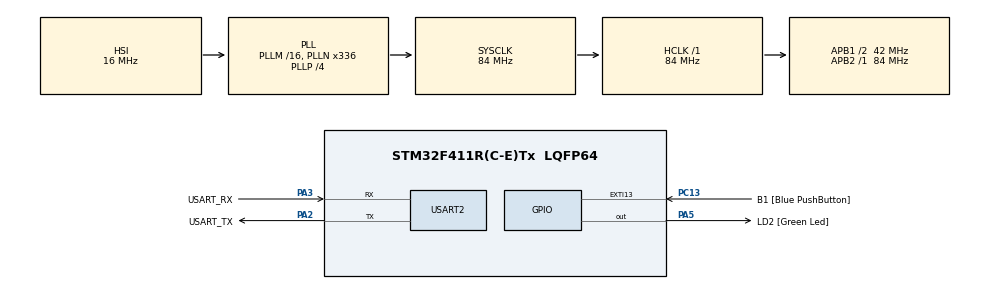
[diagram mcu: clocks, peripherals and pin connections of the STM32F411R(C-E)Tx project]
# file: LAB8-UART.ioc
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Mcu.Family=STM32F4
Mcu.Name=STM32F411R(C-E)Tx
Mcu.Package=LQFP64
NVIC.PriorityGroup=NVIC_PRIORITYGROUP_0
NVIC.USART2_IRQn=true\:0\:0\:false\:false\:true\:true\:true
PA13.GPIO_Label=TMS
PA13.Mode=Serial_Wire
PA13.Signal=SYS_JTMS-SWDIO
PA14.GPIO_Label=TCK
PA14.Mode=Serial_Wire
PA14.Signal=SYS_JTCK-SWCLK
PA2.GPIO_Label=USART_TX
PA2.Mode=Asynchronous
PA2.Signal=USART2_TX
PA3.GPIO_Label=USART_RX
PA3.Mode=Asynchronous
PA3.Signal=USART2_RX
PA5.GPIO_Label=LD2 [Green Led]
PA5.Signal=GPIO_Output
PB3.GPIO_Label=SWO
PB3.Signal=SYS_JTDO-SWO
PC13-ANTI_TAMP.GPIO_Label=B1 [Blue PushButton]
PC13-ANTI_TAMP.GPIO_ModeDefaultEXTI=GPIO_MODE_IT_FALLING
PC13-ANTI_TAMP.Signal=GPXTI13
PC14-OSC32_IN.Mode=LSE-External-Oscillator
PC14-OSC32_IN.Signal=RCC_OSC32_IN
PC15-OSC32_OUT.Mode=LSE-External-Oscillator
PC15-OSC32_OUT.Signal=RCC_OSC32_OUT
PH0\ -\ OSC_IN.Mode=HSE-External-Clock-Source
PH0\ -\ OSC_IN.Signal=RCC_OSC_IN
PH1\ -\ OSC_OUT.Mode=HSE-External-Clock-Source
PH1\ -\ OSC_OUT.Signal=RCC_OSC_OUT
ProjectManager.HeapSize=0x200
ProjectManager.StackSize=0x400
ProjectManager.TargetToolchain=STM32CubeIDE
RCC.48MHZClocksFreq_Value=84000000
RCC.AHBFreq_Value=84000000
RCC.APB1CLKDivider=RCC_HCLK_DIV2
RCC.APB1Freq_Value=42000000
RCC.APB1TimFreq_Value=84000000
RCC.APB2Freq_Value=84000000
RCC.APB2TimFreq_Value=84000000
RCC.CortexFreq_Value=84000000
RCC.FLatency-AdvancedSettings=FLASH_LATENCY_2
RCC.HCLKFreq_Value=84000000
RCC.HSE_VALUE=8000000
RCC.HSI_VALUE=16000000
RCC.PLLN=336
RCC.PLLP=RCC_PLLP_DIV4
RCC.SYSCLKFreq_VALUE=84000000
RCC.SYSCLKSource=RCC_SYSCLKSOURCE_PLLCLK
RCC.VCOOutputFreq_Value=336000000
USART2.VirtualMode=VM_ASYNC
board=NUCLEO-F411RE

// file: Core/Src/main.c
/* USER CODE BEGIN Header */
/**
  ******************************************************************************
  * @file           : main.c
  * @brief          : Main program body
  ******************************************************************************
  * @attention
  *
  * <h2><center>&copy; Copyright (c) 2021 STMicroelectronics.
  * All rights reserved.</center></h2>
  *
  * This software component is licensed by ST under BSD 3-Clause license,
  * the "License"; You may not use this file except in compliance with the
  * License. You may obtain a copy of the License at:
  *                        opensource.org/licenses/BSD-3-Clause
  *
  ******************************************************************************
  */
/* USER CODE END Header */
#include "main.h"

/* USER CODE BEGIN Includes */
#include <stdio.h>	//sprintf --print บนตัวแปร
#include <string.h>	//strlen --วัความยาว str
/* USER CODE END Includes */

UART_HandleTypeDef huart2; // ใช้ได้เลยโดยไม่ต้องสั่ง start stop

/* USER CODE BEGIN PV */

typedef enum
{
	state_start0 = 1 ,
	state_start1,
	state_LEDControl0,
	state_LEDControl1,
	state_ButtonStatus0,
	state_Buttonstatus1
} state;//0 = Print, 1 = Select

uint32_t TimeStamp = 0;
uint32_t frequency = 10;
uint8_t LED = 1;
uint8_t Button[2];

char TxDataBuffer[32] = {0}; //Global -- every time
char RxDataBuffer[32] = {0};

/* USER CODE END PV */

void SystemClock_Config(void);
static void MX_GPIO_Init(void);
static void MX_USART2_UART_Init(void);
/* USER CODE BEGIN PFP */
void UARTRecieveAndResponsePolling();
int16_t UARTRecieveIT();
/* USER CODE END PFP */

int main(void)
{

  /* MCU Configuration--------------------------------------------------------*/

  /* Reset of all peripherals, Initializes the Flash interface and the Systick. */
  HAL_Init();

  /* Configure the system clock */
  SystemClock_Config();

  /* Initialize all configured peripherals */
  MX_GPIO_Init();
  MX_USART2_UART_Init();
  /* USER CODE BEGIN 2 */
  {
	  char temp[] = "HELP ME PLZ\r\n";
	  HAL_UART_Transmit(&huart2, (uint8_t*)temp, strlen(temp), 100); // ส่ง str -- ถ้าประโยคยาวกว่า 10 ms ประโยคอาจจะไม่ขึ้น สามารถใส่มากๆไว้ก่อนก็ได้ หรือจะทำ interrupt ก็ได้
  }
  /* USER CODE END 2 */

  /* Infinite loop */
  /* USER CODE BEGIN WHILE */
  while (1)
  {
	  /*Method 1 Polling Mode*/ //--ครบตาม timeout
//	  UARTRecieveAndResponsePolling(); //Call Function For Recieve Data

	  /*Method 2 Interrupt Mode*/ //--ครบตามจำนวนตัวอักษร
	  HAL_UART_Receive_IT(&huart2, (uint8_t*)RxDataBuffer, 32);
	  	  	  //ฟังก์ชันนี้สามารถใส่นอกลูปได้ แต่เมื่อใส่ข้อมูลครบ 32 ตัว จะจบฟังก์ชันนี้ด้วย
	  	  	  //เมื่อเข้าสู่การเตรียมรับแล้ว โปรแกรมจะข้างฟังก์ชันนี้ไปเอง จึงสามารถใส่ฟังก์ชันนี้ในลูปได้

	  if (LED == 1) //on
	  {
		  if(HAL_GetTick() - TimeStamp >= 100000) //กระพริบ LED
		  {
			  TimeStamp = HAL_GetTick();
			  HAL_GPIO_TogglePin(LD2_GPIO_Port, LD2_Pin);
		  }
	  }

	  else
	  {
		  HAL_GPIO_WritePin(LD2_GPIO_Port, LD2_Pin, 0);
	  }

	  Button[1] = Button[0];
	  Button[0] = HAL_GPIO_ReadPin(B1_GPIO_Port, B1_Pin);
	  int16_t inputchar = UARTRecieveIT();

	  static state STATE = 1;

	  switch(STATE)
	  {
	  case state_start0:
		  sprintf(TxDataBuffer, " Main Menu\n\r 0: LED Control \n\r 1: Button status\n\r");
		  HAL_UART_Transmit(&huart2, (uint8_t*)TxDataBuffer, strlen(TxDataBuffer), 100);
		  STATE = state_start1;
		  break;

	  case state_start1:
		  switch (inputchar)
		  {
		  case '0':
			  STATE = state_LEDControl0;
			  break;
		  case '1':
			  STATE = state_ButtonStatus0;
			  break;
		  case -1:
			  break;
		  default:
				  sprintf(TxDataBuffer, "Sorry, Key is wrong\n\r");
				  HAL_UART_Transmit(&huart2, (uint8_t*)TxDataBuffer, strlen(TxDataBuffer), 100);
				  STATE = state_start0;
				  break;
		  }
		  break;
/*------------------------------------------------------------------------------------------------------------------*/
	  case state_LEDControl0:
		  sprintf(TxDataBuffer,"a: Speed Up +1Hz\n\r s: Speed Down -1Hz\n\r d: On/Off\n\r x: back\n\r");
		  HAL_UART_Transmit(&huart2, (uint8_t*)TxDataBuffer, strlen(TxDataBuffer), 1000);
		  STATE = state_LEDControl1;
		  break;

	  case state_LEDControl1:
		  switch(inputchar)
		  {
		  case 'a':
			  frequency += 1;
			  sprintf(TxDataBuffer, " [%d]\r\n" , frequency);
			  HAL_UART_Transmit(&huart2, (uint8_t*)TxDataBuffer, strlen(TxDataBuffer), 100);
			  break;

		  case's':
			  if(frequency != 0)
			  {
				  frequency -= 1;
				  sprintf(TxDataBuffer, " [%d]\r\n" , frequency);
				  HAL_UART_Transmit(&huart2, (uint8_t*)TxDataBuffer, strlen(TxDataBuffer), 100);
			  }
			  else
			  {
				  sprintf(TxDataBuffer, "Current Frequency is low \r\n");
				  HAL_UART_Transmit(&huart2, (uint8_t*)TxDataBuffer, strlen(TxDataBuffer), 100);
			  }
			  break;

		  case'd':
			  if(LED == 1)
			  {
				  LED == 0;
				  sprintf(TxDataBuffer,
						  "Turn Off LED\n\r");
				  HAL_UART_Transmit(&huart2, (uint8_t*)TxDataBuffer, strlen(TxDataBuffer), 100);
			  }
			  else
			  {
				  LED == 1;
				  sprintf(TxDataBuffer,"Turn On LED\n\r");
				  HAL_UART_Transmit(&huart2, (uint8_t*)TxDataBuffer, strlen(TxDataBuffer), 100);
			  }
			  LED = !LED ;
			  break;

		  case 'x':
			  STATE = state_start0;
			  break;

		  default:
			  STATE = state_LEDControl1;
			  break;
		  }
		  break;
/*------------------------------------------------------------------------------------------------------------------*/
	  case state_ButtonStatus0:
		  sprintf(TxDataBuffer,"Button Status\n\r x: Back \n\r ");
		  HAL_UART_Transmit(&huart2, (uint8_t*)TxDataBuffer, strlen(TxDataBuffer), 1000);
		  STATE = state_Buttonstatus1;
		  break;

	  case state_Buttonstatus1:
		  if(Button[0] == 0 && Button[1] == 1)
		  {
			  sprintf(TxDataBuffer, "PRESSED\n\r");
			  HAL_UART_Transmit(&huart2, (uint8_t*)TxDataBuffer, strlen(TxDataBuffer), 100);
			  STATE = state_ButtonStatus0;
		  }
		  else if (Button[0] == 1 && Button[1] == 0)
		  {
			  sprintf(TxDataBuffer, "UNPRESSED\n\r");
			  HAL_UART_Transmit(&huart2, (uint8_t*)TxDataBuffer, strlen(TxDataBuffer), 100);
			  STATE = state_ButtonStatus0;
		  }
	  	  switch(inputchar)
	  	  {
			  case 'x':
			  STATE = state_start0;
			  break;

			  default:
			  STATE = state_Buttonstatus1;
			  break;
	  	  }
	  	  break;
	  }

/*----------------------------------------------------------------------------*/
	  /*Method 2 W/ 1 Char Received*/ //--เอาท์ออกมาทีละตัวอักษร
//	  int16_t inputchar = UARTRecieveIT();
//	  if(inputchar != -1) /* mean have new data */
//	  {
//		  sprintf(TxDataBuffer, "ReceivedChar:[%c]\r\n", inputchar);
//		  HAL_UART_Transmit(&huart2, (uint8_t*)TxDataBuffer, strlen(TxDataBuffer), 1000);
//	  }
//
//	  /*This section just simmulate Work Load*/
	  HAL_Delay(100);
	  HAL_GPIO_TogglePin(LD2_GPIO_Port, LD2_Pin);
/*----------------------------------------------------------------------------*/
    /* USER CODE END WHILE */

  }
}

void SystemClock_Config(void)
{
  RCC_OscInitTypeDef RCC_OscInitStruct = {0};
  RCC_ClkInitTypeDef RCC_ClkInitStruct = {0};

  /** Configure the main internal regulator output voltage
  */
  __HAL_RCC_PWR_CLK_ENABLE();
  __HAL_PWR_VOLTAGESCALING_CONFIG(PWR_REGULATOR_VOLTAGE_SCALE1);
  /** Initializes the RCC Oscillators according to the specified parameters
  * in the RCC_OscInitTypeDef structure.
  */
  RCC_OscInitStruct.OscillatorType = RCC_OSCILLATORTYPE_HSI;
  RCC_OscInitStruct.HSIState = RCC_HSI_ON;
  RCC_OscInitStruct.HSICalibrationValue = RCC_HSICALIBRATION_DEFAULT;
  RCC_OscInitStruct.PLL.PLLState = RCC_PLL_ON;
  RCC_OscInitStruct.PLL.PLLSource = RCC_PLLSOURCE_HSI;
  RCC_OscInitStruct.PLL.PLLM = 16;
  RCC_OscInitStruct.PLL.PLLN = 336;
  RCC_OscInitStruct.PLL.PLLP = RCC_PLLP_DIV4;
  RCC_OscInitStruct.PLL.PLLQ = 4;
  if (HAL_RCC_OscConfig(&RCC_OscInitStruct) != HAL_OK)
  {
    Error_Handler();
  }
  /** Initializes the CPU, AHB and APB buses clocks
  */
  RCC_ClkInitStruct.ClockType = RCC_CLOCKTYPE_HCLK|RCC_CLOCKTYPE_SYSCLK
                              |RCC_CLOCKTYPE_PCLK1|RCC_CLOCKTYPE_PCLK2;
  RCC_ClkInitStruct.SYSCLKSource = RCC_SYSCLKSOURCE_PLLCLK;
  RCC_ClkInitStruct.AHBCLKDivider = RCC_SYSCLK_DIV1;
  RCC_ClkInitStruct.APB1CLKDivider = RCC_HCLK_DIV2;
  RCC_ClkInitStruct.APB2CLKDivider = RCC_HCLK_DIV1;

  if (HAL_RCC_ClockConfig(&RCC_ClkInitStruct, FLASH_LATENCY_2) != HAL_OK)
  {
    Error_Handler();
  }
}

static void MX_USART2_UART_Init(void)
{

  huart2.Instance = USART2;
  huart2.Init.BaudRate = 115200;
  huart2.Init.WordLength = UART_WORDLENGTH_8B;
  huart2.Init.StopBits = UART_STOPBITS_1;
  huart2.Init.Parity = UART_PARITY_NONE;
  huart2.Init.Mode = UART_MODE_TX_RX;
  huart2.Init.HwFlowCtl = UART_HWCONTROL_NONE;
  huart2.Init.OverSampling = UART_OVERSAMPLING_16;
  if (HAL_UART_Init(&huart2) != HAL_OK)
  {
    Error_Handler();
  }

}

static void MX_GPIO_Init(void)
{
  GPIO_InitTypeDef GPIO_InitStruct = {0};

  /* GPIO Ports Clock Enable */
  __HAL_RCC_GPIOC_CLK_ENABLE();
  __HAL_RCC_GPIOH_CLK_ENABLE();
  __HAL_RCC_GPIOA_CLK_ENABLE();
  __HAL_RCC_GPIOB_CLK_ENABLE();

  /*Configure GPIO pin Output Level */
  HAL_GPIO_WritePin(LD2_GPIO_Port, LD2_Pin, GPIO_PIN_RESET);

  /*Configure GPIO pin : B1_Pin */
  GPIO_InitStruct.Pin = B1_Pin;
  GPIO_InitStruct.Mode = GPIO_MODE_IT_FALLING;
  GPIO_InitStruct.Pull = GPIO_NOPULL;
  HAL_GPIO_Init(B1_GPIO_Port, &GPIO_InitStruct);

  /*Configure GPIO pin : LD2_Pin */
  GPIO_InitStruct.Pin = LD2_Pin;
  GPIO_InitStruct.Mode = GPIO_MODE_OUTPUT_PP;
  GPIO_InitStruct.Pull = GPIO_NOPULL;
  GPIO_InitStruct.Speed = GPIO_SPEED_FREQ_LOW;
  HAL_GPIO_Init(LD2_GPIO_Port, &GPIO_InitStruct);

}

/* USER CODE BEGIN 4 */
void UARTRecieveAndResponsePolling()
{
	//create buffer
	char Recieve[32]={0};
	//start receive
	HAL_UART_Receive(&huart2, (uint8_t*)Recieve, 4, 1000);
	//Feedback
	sprintf(TxDataBuffer, "Received:[%s]\r\n", Recieve); //ข้อความอะไรก็ได้ ไม่ฟิคจำนวนเหมือนแบบแรกที่ทำ
	//send
	HAL_UART_Transmit(&huart2, (uint8_t*)TxDataBuffer, strlen(TxDataBuffer), 1000); // Polling

}

int16_t UARTRecieveIT()
{
	static uint32_t dataPos =0;   //สำหรับตาม buffer -- ข้อมูลล่าสุดที่คอนโทลเลอร์ต้องอ่านแล้วนำไปใช้ ไม่ใช่ข้อมูลล่าสุดที่เข้ามาในคอนโทลเลอร์
		//static เก็บค่าไว้ใช้ต่อ ไม่ใช่เริ่มใหม่ที่ 0 ทุกครั้ง
	int16_t data=-1; //ถ้าอ่านไปจนสุดแล้ว จะรีเทิร์น -1 หมายความว่า ไม่มีข้อมูลหลังจากนั้นแล้ว
	if(huart2.RxXferSize - huart2.RxXferCount!=dataPos) // เช็คว่าที่ต้องการนำไปใช้ ตรงกับข้อมูลปัจจุบันแล้วยัง
	{
		data=RxDataBuffer[dataPos];
		dataPos= (dataPos+1)%huart2.RxXferSize;
	}
	return data;
}

void HAL_UART_RxCpltCallback(UART_HandleTypeDef *huart)
{
	sprintf(TxDataBuffer, "Received:[%s]\r\n", RxDataBuffer);
						// Data in RxBuffer  ไปแปะใน TxBuffer by format Received:[%s]\r\n
	HAL_UART_Transmit_IT(&huart2, (uint8_t*)TxDataBuffer, strlen(TxDataBuffer)); // Interrupt
}
/* USER CODE END 4 */

void Error_Handler(void)
{
  __disable_irq();
  while (1)
  {
  }
}

/************************ (C) COPYRIGHT STMicroelectronics *****END OF FILE****/
